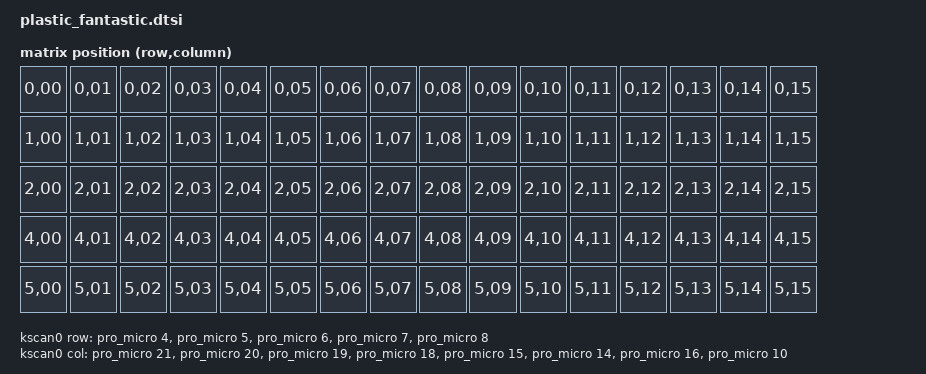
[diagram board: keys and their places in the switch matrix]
/*
 * Copyright (c) 2020 Pete Johanson
 *
 * SPDX-License-Identifier: MIT
 */

#include <dt-bindings/zmk/matrix_transform.h>
#include "plastic-fantastic-layouts.dtsi"

/ {
    chosen {
//        zephyr,display = &oled;
        zmk,kscan = &kscan0;
        zmk,physical-layout = &plastic_fantastic_layout;
    };

    default_transform: keymap_transform_0 {
        compatible = "zmk,matrix-transform";
        columns = <16>;
        rows = <5>;
// | SW0x00 | SW0x01 | SW0x02 | SW0x03 | SW0x04 | SW0x05 | SW0x06 | SW0x07 |  | SW0x00 | SW0x01 | SW0x02 | SW0x03 | SW0x04 | SW0x05 | SW0x06 | SW0x07 |
// | SW0x08 | SW0x09 | SW0x0A | SW0x0B | SW0x0C | SW0x0D | SW0x0E | SW0x0F |  | SW0x08 | SW0x09 | SW0x0A | SW0x0B | SW0x0C | SW0x0D | SW0x0E | SW0x0F |
// | SW0x10 | SW0x11 | SW0x12 | SW0x13 | SW0x14 | SW0x15 | SW0x16 | SW0x17 |  | SW0x10 | SW0x11 | SW0x12 | SW0x13 | SW0x14 | SW0x15 | SW0x16 | SW0x17 |
// | SW0x18 | SW0x19 | SW0x1A | SW0x1B | SW0x1C | SW0x1D | SW0x1E | SW0x1F |  | SW0x18 | SW0x19 | SW0x1A | SW0x1B | SW0x1C | SW0x1D | SW0x1E | SW0x1F |
// | SW0x20 | SW0x21 | SW0x22 | SW0x23 | SW0x24 | SW0x25 | SW0x26 | SW0x27 |  | SW0x20 | SW0x21 | SW0x22 | SW0x23 | SW0x24 | SW0x25 | SW0x26 | SW0x27 |
        map = <
    RC(0,00) RC(0,01) RC(0,02) RC(0,03) RC(0,04) RC(0,05) RC(0,06) RC(0,07)    RC(0,08) RC(0,09) RC(0,10) RC(0,11) RC(0,12) RC(0,13) RC(0,14) RC(0,15)
    RC(1,00) RC(1,01) RC(1,02) RC(1,03) RC(1,04) RC(1,05) RC(1,06) RC(1,07)    RC(1,08) RC(1,09) RC(1,10) RC(1,11) RC(1,12) RC(1,13) RC(1,14) RC(1,15)
    RC(2,00) RC(2,01) RC(2,02) RC(2,03) RC(2,04) RC(2,05) RC(2,06) RC(2,07)    RC(2,08) RC(2,09) RC(2,10) RC(2,11) RC(2,12) RC(2,13) RC(2,14) RC(2,15)
    RC(4,00) RC(4,01) RC(4,02) RC(4,03) RC(4,04) RC(4,05) RC(4,06) RC(4,07)    RC(4,08) RC(4,09) RC(4,10) RC(4,11) RC(4,12) RC(4,13) RC(4,14) RC(4,15)
    RC(5,00) RC(5,01) RC(5,02) RC(5,03) RC(5,04) RC(5,05) RC(5,06) RC(5,07)    RC(5,08) RC(5,09) RC(5,10) RC(5,11) RC(5,12) RC(5,13) RC(5,14) RC(5,15)
        >;
    };

    kscan0: kscan {
        compatible = "zmk,kscan-gpio-matrix";
        wakeup-source;

        diode-direction = "col2row";
        row-gpios
            = <&pro_micro 4 (GPIO_ACTIVE_HIGH | GPIO_PULL_DOWN)>
            , <&pro_micro 5 (GPIO_ACTIVE_HIGH | GPIO_PULL_DOWN)>
            , <&pro_micro 6 (GPIO_ACTIVE_HIGH | GPIO_PULL_DOWN)>
            , <&pro_micro 7 (GPIO_ACTIVE_HIGH | GPIO_PULL_DOWN)>
            , <&pro_micro 8 (GPIO_ACTIVE_HIGH | GPIO_PULL_DOWN)>
            ;

        col-gpios
            = <&pro_micro 21 GPIO_ACTIVE_HIGH>
            , <&pro_micro 20 GPIO_ACTIVE_HIGH>
            , <&pro_micro 19 GPIO_ACTIVE_HIGH>
            , <&pro_micro 18 GPIO_ACTIVE_HIGH>
            , <&pro_micro 15 GPIO_ACTIVE_HIGH>
            , <&pro_micro 14 GPIO_ACTIVE_HIGH>
            , <&pro_micro 16 GPIO_ACTIVE_HIGH>
            , <&pro_micro 10 GPIO_ACTIVE_HIGH>
            ;

    };

    // TODO: per-key RGB node(s)?
};

&pro_micro_i2c {
    status = "okay";

    oled: ssd1306@3c {
        compatible = "solomon,ssd1306fb";
        reg = <0x3c>;
        width = <128>;
        height = <32>;
        segment-offset = <0>;
        page-offset = <0>;
        display-offset = <0>;
        multiplex-ratio = <31>;
        segment-remap;
        com-invdir;
        com-sequential;
        inversion-on;
        prechargep = <0x22>;
    };
};
